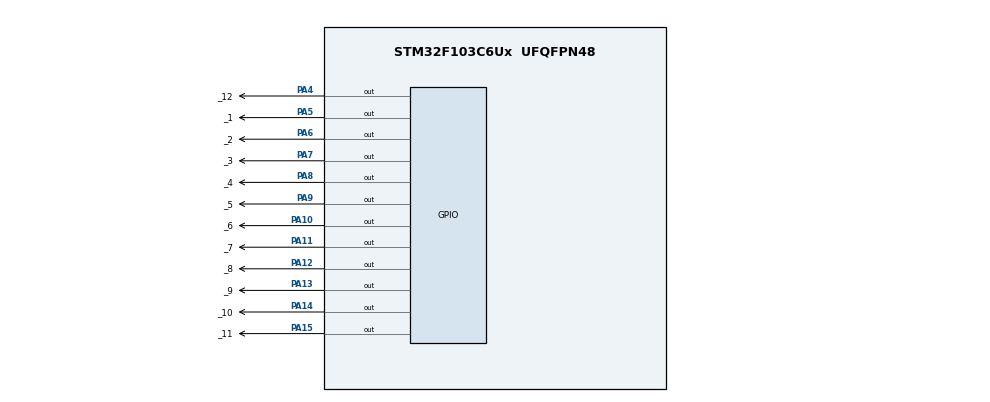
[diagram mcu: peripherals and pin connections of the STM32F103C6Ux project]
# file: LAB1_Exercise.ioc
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Mcu.Family=STM32F1
Mcu.Name=STM32F103C6Ux
Mcu.Package=UFQFPN48
NVIC.PriorityGroup=NVIC_PRIORITYGROUP_4
PA10.GPIO_Label=_6
PA10.Signal=GPIO_Output
PA11.GPIO_Label=_7
PA11.Signal=GPIO_Output
PA12.GPIO_Label=_8
PA12.Signal=GPIO_Output
PA13.GPIO_Label=_9
PA13.Signal=GPIO_Output
PA14.GPIO_Label=_10
PA14.Signal=GPIO_Output
PA15.GPIO_Label=_11
PA15.Signal=GPIO_Output
PA4.GPIO_Label=_12
PA4.Signal=GPIO_Output
PA5.GPIO_Label=_1
PA5.Signal=GPIO_Output
PA6.GPIO_Label=_2
PA6.Signal=GPIO_Output
PA7.GPIO_Label=_3
PA7.Signal=GPIO_Output
PA8.GPIO_Label=_4
PA8.Signal=GPIO_Output
PA9.GPIO_Label=_5
PA9.Signal=GPIO_Output
ProjectManager.HeapSize=0x200
ProjectManager.StackSize=0x400
ProjectManager.TargetToolchain=STM32CubeIDE
RCC.APB1Freq_Value=8000000
RCC.APB2Freq_Value=8000000
VP_SYS_VS_ND.Mode=No_Debug
board=custom

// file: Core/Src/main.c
/* USER CODE BEGIN Header */
/**
  ******************************************************************************
  * @file           : main.c
  * @brief          : Main program body
  ******************************************************************************
  * @attention
  *
  * <h2><center>&copy; Copyright (c) 2023 STMicroelectronics.
  * All rights reserved.</center></h2>
  *
  * This software component is licensed by ST under BSD 3-Clause license,
  * the "License"; You may not use this file except in compliance with the
  * License. You may obtain a copy of the License at:
  *                        opensource.org/licenses/BSD-3-Clause
  *
  ******************************************************************************
  */
/* USER CODE END Header */
#include "main.h"

void SystemClock_Config(void);
static void MX_GPIO_Init(void);

/* USER CODE BEGIN 0 */
void clearAllclock(){
	HAL_GPIO_WritePin(_12_GPIO_Port, _12_Pin, SET);
	HAL_GPIO_WritePin(_1_GPIO_Port, _1_Pin, SET);
	HAL_GPIO_WritePin(_2_GPIO_Port, _2_Pin, SET);
	HAL_GPIO_WritePin(_3_GPIO_Port, _3_Pin, SET);
	HAL_GPIO_WritePin(_4_GPIO_Port, _4_Pin, SET);
	HAL_GPIO_WritePin(_5_GPIO_Port, _5_Pin, SET);
	HAL_GPIO_WritePin(_6_GPIO_Port, _6_Pin, SET);
	HAL_GPIO_WritePin(_7_GPIO_Port, _7_Pin, SET);
	HAL_GPIO_WritePin(_8_GPIO_Port, _8_Pin, SET);
	HAL_GPIO_WritePin(_9_GPIO_Port, _9_Pin, SET);
	HAL_GPIO_WritePin(_10_GPIO_Port, _10_Pin, SET);
	HAL_GPIO_WritePin(_11_GPIO_Port, _11_Pin, SET);
}
void setNumberOnClock(int num){
	switch(num){
	case 0:
		HAL_GPIO_WritePin(_12_GPIO_Port, _12_Pin, RESET);
		break;
	case 1:
		HAL_GPIO_WritePin(_1_GPIO_Port, _1_Pin, RESET);
		break;
	case 2:
		HAL_GPIO_WritePin(_2_GPIO_Port, _2_Pin, RESET);
		break;
	case 3:
		HAL_GPIO_WritePin(_3_GPIO_Port, _3_Pin, RESET);
		break;
	case 4:
		HAL_GPIO_WritePin(_4_GPIO_Port, _4_Pin, RESET);
		break;
	case 5:
		HAL_GPIO_WritePin(_5_GPIO_Port, _5_Pin, RESET);
		break;
	case 6:
		HAL_GPIO_WritePin(_6_GPIO_Port, _6_Pin, RESET);
		break;
	case 7:
		HAL_GPIO_WritePin(_7_GPIO_Port, _7_Pin, RESET);
		break;
	case 8:
		HAL_GPIO_WritePin(_8_GPIO_Port, _8_Pin, RESET);
		break;
	case 9:
		HAL_GPIO_WritePin(_9_GPIO_Port, _9_Pin, RESET);
		break;
	case 10:
		HAL_GPIO_WritePin(_10_GPIO_Port, _10_Pin, RESET);
		break;
	case 11:
		HAL_GPIO_WritePin(_11_GPIO_Port, _11_Pin, RESET);
		break;
	default:
		break;
	}
}
void clearNumberOnClock(int num){
	switch(num){
	case 0:
		HAL_GPIO_WritePin(_12_GPIO_Port, _12_Pin, SET);
		break;
	case 1:
		HAL_GPIO_WritePin(_1_GPIO_Port, _1_Pin, SET);
		break;
	case 2:
		HAL_GPIO_WritePin(_2_GPIO_Port, _2_Pin, SET);
		break;
	case 3:
		HAL_GPIO_WritePin(_3_GPIO_Port, _3_Pin, SET);
		break;
	case 4:
		HAL_GPIO_WritePin(_4_GPIO_Port, _4_Pin, SET);
		break;
	case 5:
		HAL_GPIO_WritePin(_5_GPIO_Port, _5_Pin, SET);
		break;
	case 6:
		HAL_GPIO_WritePin(_6_GPIO_Port, _6_Pin, SET);
		break;
	case 7:
		HAL_GPIO_WritePin(_7_GPIO_Port, _7_Pin, SET);
		break;
	case 8:
		HAL_GPIO_WritePin(_8_GPIO_Port, _8_Pin, SET);
		break;
	case 9:
		HAL_GPIO_WritePin(_9_GPIO_Port, _9_Pin, SET);
		break;
	case 10:
		HAL_GPIO_WritePin(_10_GPIO_Port, _10_Pin, SET);
		break;
	case 11:
		HAL_GPIO_WritePin(_11_GPIO_Port, _11_Pin, SET);
		break;
	default:
		break;
	}
}
/* USER CODE END 0 */

int main(void)
{

  /* MCU Configuration--------------------------------------------------------*/

  /* Reset of all peripherals, Initializes the Flash interface and the Systick. */
  HAL_Init();

  /* Configure the system clock */
  SystemClock_Config();

  /* Initialize all configured peripherals */
  MX_GPIO_Init();

  /* Infinite loop */
  /* USER CODE BEGIN WHILE */
  	int sec=0;	//initialize a value for sec
    int min=59;	//initialize a value for min
    int hour=23;	//initialize a value for hour
    clearAllclock();	//clear all clock before
    while (1)
    {
      /* USER CODE END WHILE */
    	if(sec==60){	//sec==60 => reset sec, increase min
    		clearNumberOnClock((sec-1)/5);
    		sec=0;
    	    min++;
    	}
    	if(min==60){	//min==60 => reset min, increase hour
    		clearNumberOnClock((min-1)/5);
    	    min=0;
    	    hour++;
    	}
    	if(hour==24){	//hour==24 => reset hour
    		clearNumberOnClock((hour-1)%12);
    	    hour=0;
    	}
    	if(sec%5==0){
    		clearNumberOnClock((sec-1)/5);
    	}
    	setNumberOnClock(sec/5);
    	setNumberOnClock(min/5);
    	setNumberOnClock(hour%12);
    	sec++;
    	HAL_Delay(20);
    }
}

void SystemClock_Config(void)
{
  RCC_OscInitTypeDef RCC_OscInitStruct = {0};
  RCC_ClkInitTypeDef RCC_ClkInitStruct = {0};

  /** Initializes the RCC Oscillators according to the specified parameters
  * in the RCC_OscInitTypeDef structure.
  */
  RCC_OscInitStruct.OscillatorType = RCC_OSCILLATORTYPE_HSI;
  RCC_OscInitStruct.HSIState = RCC_HSI_ON;
  RCC_OscInitStruct.HSICalibrationValue = RCC_HSICALIBRATION_DEFAULT;
  RCC_OscInitStruct.PLL.PLLState = RCC_PLL_NONE;
  if (HAL_RCC_OscConfig(&RCC_OscInitStruct) != HAL_OK)
  {
    Error_Handler();
  }
  /** Initializes the CPU, AHB and APB buses clocks
  */
  RCC_ClkInitStruct.ClockType = RCC_CLOCKTYPE_HCLK|RCC_CLOCKTYPE_SYSCLK
                              |RCC_CLOCKTYPE_PCLK1|RCC_CLOCKTYPE_PCLK2;
  RCC_ClkInitStruct.SYSCLKSource = RCC_SYSCLKSOURCE_HSI;
  RCC_ClkInitStruct.AHBCLKDivider = RCC_SYSCLK_DIV1;
  RCC_ClkInitStruct.APB1CLKDivider = RCC_HCLK_DIV1;
  RCC_ClkInitStruct.APB2CLKDivider = RCC_HCLK_DIV1;

  if (HAL_RCC_ClockConfig(&RCC_ClkInitStruct, FLASH_LATENCY_0) != HAL_OK)
  {
    Error_Handler();
  }
}

static void MX_GPIO_Init(void)
{
  GPIO_InitTypeDef GPIO_InitStruct = {0};

  /* GPIO Ports Clock Enable */
  __HAL_RCC_GPIOA_CLK_ENABLE();

  /*Configure GPIO pin Output Level */
  HAL_GPIO_WritePin(GPIOA, _12_Pin|_1_Pin|_2_Pin|_3_Pin
                          |_4_Pin|_5_Pin|_6_Pin|_7_Pin
                          |_8_Pin|_9_Pin|_10_Pin|_11_Pin, GPIO_PIN_RESET);

  /*Configure GPIO pins : _12_Pin _1_Pin _2_Pin _3_Pin
                           _4_Pin _5_Pin _6_Pin _7_Pin
                           _8_Pin _9_Pin _10_Pin _11_Pin */
  GPIO_InitStruct.Pin = _12_Pin|_1_Pin|_2_Pin|_3_Pin
                          |_4_Pin|_5_Pin|_6_Pin|_7_Pin
                          |_8_Pin|_9_Pin|_10_Pin|_11_Pin;
  GPIO_InitStruct.Mode = GPIO_MODE_OUTPUT_PP;
  GPIO_InitStruct.Pull = GPIO_NOPULL;
  GPIO_InitStruct.Speed = GPIO_SPEED_FREQ_LOW;
  HAL_GPIO_Init(GPIOA, &GPIO_InitStruct);

}

void Error_Handler(void)
{
  __disable_irq();
  while (1)
  {
  }
}

/************************ (C) COPYRIGHT STMicroelectronics *****END OF FILE****/
